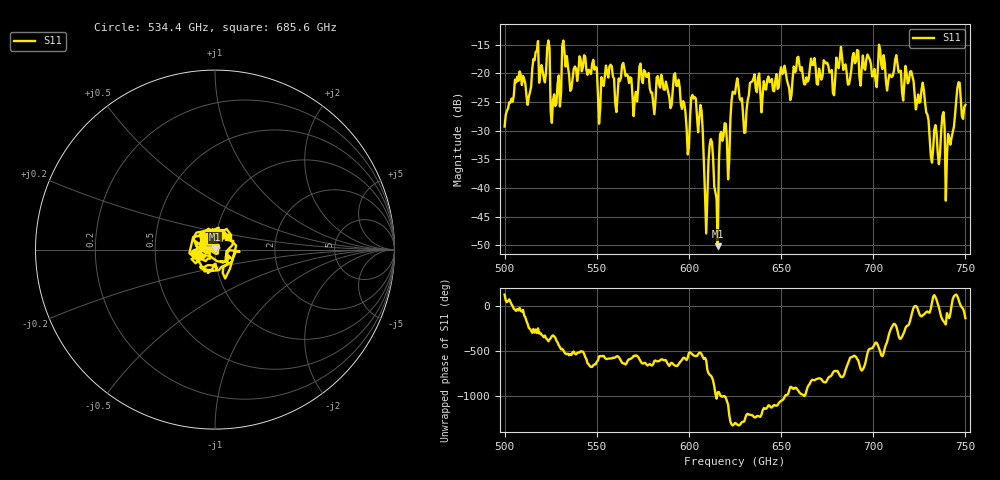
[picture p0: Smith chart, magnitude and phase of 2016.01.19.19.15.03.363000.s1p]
!Created with skrf (http://scikit-rf.org).
# GHz S RI R 50.0
!freq ReS11 ImS11
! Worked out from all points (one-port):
!   401 points, 500 GHz to 750 GHz, reference 50 ohm
!   lowest |S11| = -50.1 dB at 615.6 GHz (marker M1), VSWR 1.01, Z = 49.8 + j0.268 ohm
!   |S11| at or under -10 dB: start of sweep to end of sweep
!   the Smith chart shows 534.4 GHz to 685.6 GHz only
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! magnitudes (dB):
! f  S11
! 500 GHz  -29.3
! 506.9 GHz  -20.6
! 513.1 GHz  -24.1
! 516.9 GHz  -16.2
! 523.1 GHz  -15.5
! 526.2 GHz  -24.7
! 531.2 GHz  -15.2
! 562.5 GHz  -21.3
! 593.8 GHz  -22.2
! 599.4 GHz  -34.1
! 602.5 GHz  -24.4
! 606.2 GHz  -25.5
! 609.4 GHz  -47.9
! 611.9 GHz  -31.5
! 615.6 GHz  -50.1
! 618.1 GHz  -31.8
! 621.2 GHz  -38.5
! 625 GHz  -23.5
! 630.6 GHz  -30.3
! 634.4 GHz  -21.4
! 656.2 GHz  -21.0
! 687.5 GHz  -20.8
! 718.8 GHz  -21.7
! 727.5 GHz  -23.0
! 731.9 GHz  -35.6
! 740.6 GHz  -30.6
! 746.2 GHz  -21.5
! 750 GHz  -25.5
